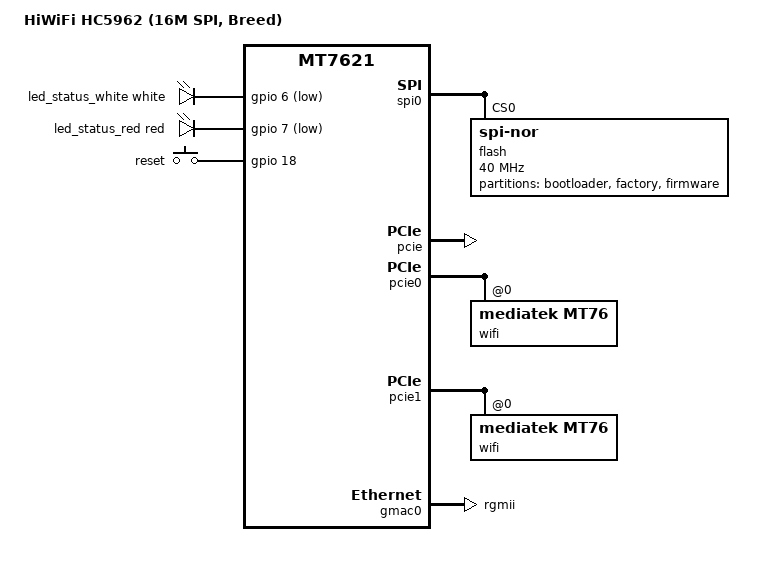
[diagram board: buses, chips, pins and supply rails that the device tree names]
// SPDX-License-Identifier: GPL-2.0-or-later OR MIT

#include "mt7621.dtsi"

#include <dt-bindings/gpio/gpio.h>
#include <dt-bindings/input/input.h>
#include <dt-bindings/leds/common.h>

/ {
	compatible = "hiwifi,hc5962-spi-breed", "mediatek,mt7621-soc";
	model = "HiWiFi HC5962 (16M SPI, Breed)";

	aliases {
		label-mac-device = &gmac0;
		led-boot = &led_status_red;
		led-failsafe = &led_status_red;
		led-running = &led_status_white;
		led-upgrade = &led_status_white;
	};

	chosen {
		bootargs = "console=ttyS0,115200";
	};

	leds {
		compatible = "gpio-leds";

		led_status_white: led-0 {
			color = <LED_COLOR_ID_WHITE>;
			function = LED_FUNCTION_STATUS;
			gpios = <&gpio 6 GPIO_ACTIVE_LOW>;
		};

		led_status_red: led-1 {
			color = <LED_COLOR_ID_RED>;
			function = LED_FUNCTION_STATUS;
			gpios = <&gpio 7 GPIO_ACTIVE_LOW>;
			panic-indicator;
		};
	};

	keys {
		compatible = "gpio-keys";

		reset {
			label = "reset";
			gpios = <&gpio 18 GPIO_ACTIVE_HIGH>;
			linux,code = <KEY_RESTART>;
		};
	};

};

&spi0 {
	status = "okay";

	flash@0 {
		compatible = "jedec,spi-nor";
		reg = <0>;
		spi-max-frequency = <40000000>;

		partitions {
			compatible = "fixed-partitions";
			#address-cells = <1>;
			#size-cells = <1>;

			partition@0 {
				label = "bootloader";
				reg = <0x0 0x40000>;
				read-only;
			};

			partition@40000 {
				label = "factory";
				reg = <0x40000 0x10000>;
				read-only;

				nvmem-layout {
					compatible = "fixed-layout";
					#address-cells = <1>;
					#size-cells = <1>;

					eeprom_factory_0: eeprom@0 {
						reg = <0x0 0x400>;
					};

					eeprom_factory_8000: eeprom@8000 {
						reg = <0x8000 0x200>;
					};

					macaddr_factory_4: macaddr@4 {
						reg = <0x4 0x6>;
					};
				};
			};

			partition@50000 {
				compatible = "denx,uimage";
				label = "firmware";
				reg = <0x50000 0xfb0000>;
			};
		};
	};
};

&nand {
	status = "disabled";
};

&pcie {
	status = "okay";
};

&pcie0 {
	wifi@0,0 {
		compatible = "mediatek,mt76";
		reg = <0x0000 0 0 0 0>;
		nvmem-cells = <&eeprom_factory_0>;
		nvmem-cell-names = "eeprom";
		ieee80211-freq-limit = <2400000 2500000>;
	};
};

&pcie1 {
	wifi@0,0 {
		compatible = "mediatek,mt76";
		reg = <0x0000 0 0 0 0>;
		nvmem-cells = <&eeprom_factory_8000>;
		nvmem-cell-names = "eeprom";
		ieee80211-freq-limit = <5000000 6000000>;
	};
};

&gmac0 {
	phy-mode = "rgmii";
	nvmem-cells = <&macaddr_factory_4>;
	nvmem-cell-names = "mac-address";
};

&gmac1 {
	status = "disabled";
};

&gsw {
	port@1 {
		status = "okay";
		label = "lan1";
	};

	port@2 {
		status = "okay";
		label = "lan2";
	};

	port@3 {
		status = "okay";
		label = "lan3";
	};

	port@4 {
		status = "okay";
		label = "wan";
	};

	port@6 {
		phy-mode = "rgmii";
	};
};

&hnat {
	mtketh-ppd = "eth0.1";
	mtketh-lan = "eth0.1";
	mtketh-wan = "eth0.2";
	mtketh-max-gmac = <1>;
};

&state_default {
	gpio {
		groups = "uart3", "jtag";
		function = "gpio";
	};
};
